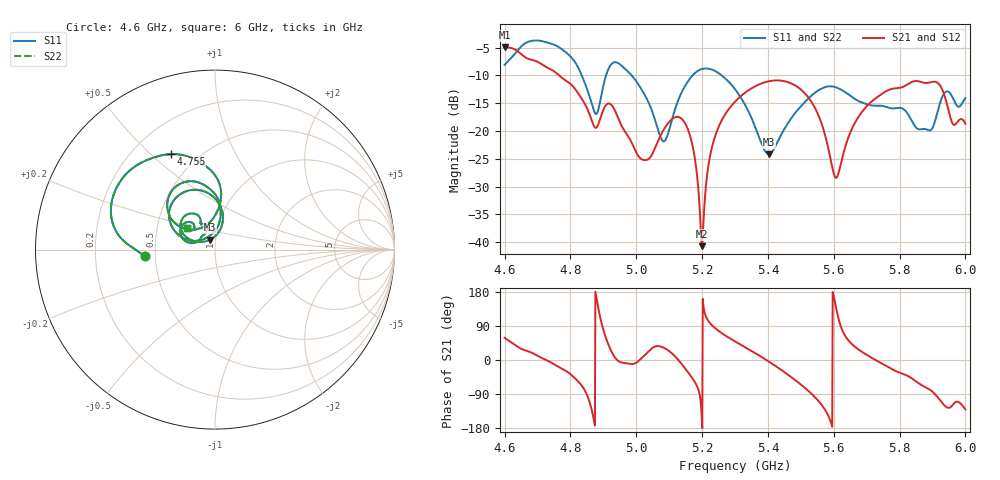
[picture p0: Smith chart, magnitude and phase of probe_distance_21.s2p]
! TOUCHSTONE file generated by CST MICROWAVE STUDIO
! Date and time: Sat Nov 30 13:11:02 2024
! Project name: test_tuning.cst
! Parameters = {airCoaxOuterDiameter=3; chamferAngle=45; chamferWidth=24; connectorLength=10; drillingHoleDiameter=4.1; feedLength=60; flareDiameter=130; flareLength=70; gratingDistance=0; gratingGap=1.90274; outletLength=30; polarizerLength=134; probe1Diameter=1.3; probe1Distance=18; probe1Length=1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
! Header version: 2024
! Port assignment regex: !\s*Touchstone port\s*([0-9]+)\s*=\s*(CST MWS port|CST DES external port|CST DES block port)\s*(.+)\s* \(\"(.*)\"\)(\s*mode\s*([0-9]+))?.*
! Touchstone port assignment:
! Touchstone port 1 = CST MWS port 1 ("Input1")
! Touchstone port 2 = CST MWS port 2 ("Input2")
# GHz S MA R 50
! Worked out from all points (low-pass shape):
!   1001 points, 4.6 GHz to 6 GHz, reference 50 ohm
!   highest |S21| = -4.95 dB at 4.6 GHz (marker M1); lowest = -40.7 dB at 5.199 GHz (marker M2)
!   |S21| within 3 dB of the highest: start of sweep to 4.711 GHz
!   lowest |S11| = -24.2 dB at 5.404 GHz (marker M3), VSWR 1.13, Z = 46.9 + j5.14 ohm
!   |S11| at or under -10 dB: 4.834 GHz to 4.908 GHz (73.89 MHz wide, 1.52 % of centre); 4.986 GHz to 5.171 GHz (185.5 MHz wide, 3.65 % of centre); 5.259 GHz to end of sweep
!   |S22| runs from -24.2 to -3.7 dB; largest |S21 - S12| = 2.2e-06
!   S11 on the Smith chart (normalised r, x): 4.6 GHz: 0.44, -0.04; 4.755 GHz: 0.36, +0.58; 6 GHz: 0.71, +0.18
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4.6  0.393 -174.7  0.5659 58.4  0.5659 58.4  0.393 -174.7
4.6714  0.6325 155.7  0.4453 22.9  0.4453 22.9  0.6325 155.7
4.7554  0.5867 114.9  0.3349 -13.9  0.3349 -13.9  0.5867 114.9
4.8338  0.3191 83.8  0.196 -67.0  0.196 -67.0  0.3191 83.8
4.8786  0.1421 118.8  0.1071 166.1  0.1071 166.1  0.1421 118.8
4.915  0.3585 137.9  0.1764 41.4  0.1764 41.4  0.3585 137.9
4.95  0.3981 107.3  0.1206 -5.0  0.1206 -5.0  0.3981 107.3
5.0186  0.2291 82.2  0.05528 7.0  0.05528 7.0  0.2291 82.2
5.0676  0.09928 92.7  0.08313 36.7  0.08313 36.7  0.09928 92.7
5.09  0.08416 134.5  0.1102 29.2  0.1102 29.2  0.08416 134.5
5.1516  0.2638 153.1  0.1122 -25.7  0.1122 -25.7  0.2638 153.1
5.1768  0.3283 141.1  0.0598 -56.6  0.0598 -56.6  0.3283 141.1
5.1992  0.3601 128.2  0.009207 -156.2  0.009207 -156.2  0.3601 128.2
5.2328  0.3535 109.4  0.07685 89.2  0.07685 89.2  0.3535 109.4
5.3  0.2375 82.0  0.1829 49.2  0.1829 49.2  0.2375 82.0
5.4036  0.0618 117.9  0.2799 -4.6  0.2799 -4.6  0.0618 117.9
5.5338  0.2098 151.7  0.1796 -90.3  0.1796 -90.3  0.2098 151.7
5.608  0.2458 125.4  0.03794 134.8  0.03794 134.8  0.2458 125.4
5.671  0.1885 115.5  0.1278 30.3  0.1278 30.3  0.1885 115.5
5.7676  0.1613 118.6  0.2341 -19.3  0.2341 -19.3  0.1613 118.6
5.9118  0.1356 164.7  0.2747 -94.2  0.2747 -94.2  0.1356 164.7
6  0.1975 142.8  0.1158 -130.2  0.1158 -130.2  0.1975 142.8
